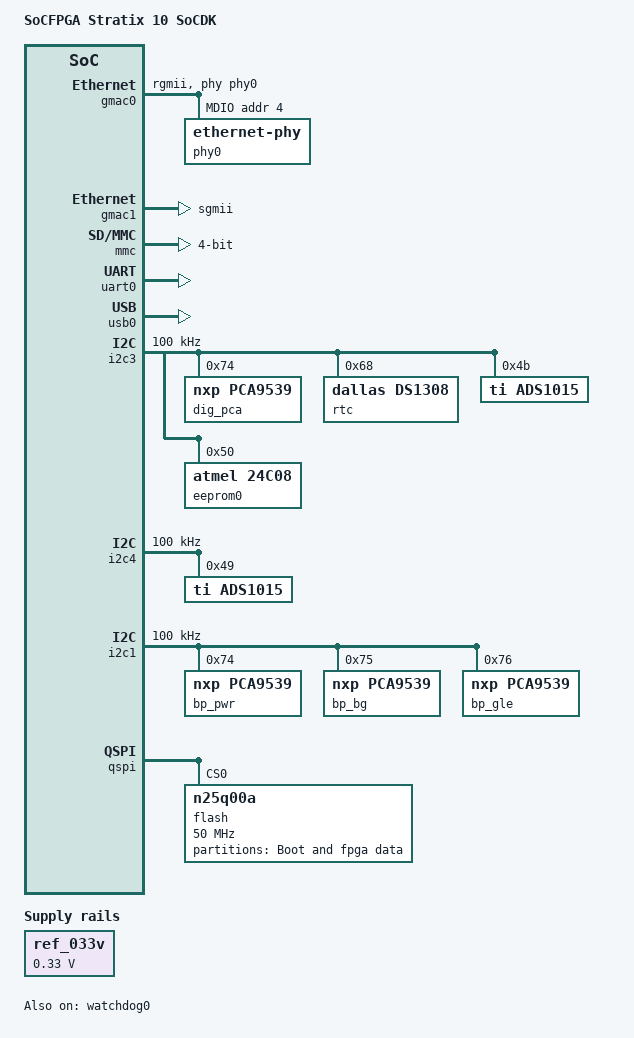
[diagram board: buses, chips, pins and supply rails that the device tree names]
/*
 * Copyright Altera Corporation (C) 2015. All rights reserved.
 *
 * This program is free software; you can redistribute it and/or modify
 * it under the terms and conditions of the GNU General Public License,
 * version 2, as published by the Free Software Foundation.
 *
 * This program is distributed in the hope it will be useful, but WITHOUT
 * ANY WARRANTY; without even the implied warranty of MERCHANTABILITY or
 * FITNESS FOR A PARTICULAR PURPOSE.  See the GNU General Public License for
 * more details.
 *
 * You should have received a copy of the GNU General Public License along with
 * this program.  If not, see <http://www.gnu.org/licenses/>.
 */

#include "socfpga_stratix10.dtsi"
#include <dt-bindings/interrupt-controller/irq.h>

/ {
	model = "SoCFPGA Stratix 10 SoCDK";

	aliases {
		serial0 = &uart0;
		ethernet0 = &gmac0;
		ethernet1 = &gmac1;
	};

	chosen {
		stdout-path = "serial0:115200n8";
	};

	memory {
		device_type = "memory";
		/* We expect the bootloader to fill in the reg */
		reg = <0 0 0 0>;
	};

	ref_033v: 033-v-ref {
		compatible = "regulator-fixed";
		regulator-name = "0.33V";
		regulator-min-microvolt = <330000>;
		regulator-max-microvolt = <330000>;
	};

	soc {
		clocks {
			osc1 {
				clock-frequency = <125000000>;
			};
		};

		s10_hps_bridges: bridge@80000000 {
			compatible = "altr,bridge-19.1", "simple-bus";
			reg =   <0x80000000 0x00008000>;
			reg-names = "axi_h2f";
			//clocks = <&iopll_0 1 &clk_0 &dp_0_video_pll 3 &iopll_0 0>;
			//clock-names = "h2f_axi_clock", "h2f_lw_axi_clock", "f2sdram0_clock", "f2sdram2_clock";
			#address-cells = <2>;
			#size-cells = <1>;
			#clock-cells = <0>;
			ranges = <0x00000000 0x00000000 0x80006000 0x00000040>,
				 <0x00000000 0x00000040 0x80006040 0x00000008>;

			gmii_to_sgmii: phy@0x000000040 {
				compatible = "altr,gmii-to-sgmii-2.0";
				reg = <0x00000000 0x00000000 0x00000040>,
				      <0x00000000 0x00000040 0x00000008>;
				reg-names = "eth_tse_control_port", "gmii_to_sgmii_adapter_avalon_slave";
				//clocks = <&sgmii_1_clk_0 &gmac1 1 &sgmii_1_clk_125 &sgmii_1_clk_125>;
				//clocks = <&sgmii_1_clk_0 &clkmgr STRATIX10_EMAC1_CLK &sgmii_1_clk_125 &sgmii_1_clk_125>;
				//clock-names = "clock_in", "emac_gtx_clk", "tse_pcs_ref_clk_clock_connection", "tse_rx_cdr_refclk";
			}; //end phy@0x100000040 (gmii_to_sgmii)

		};


		socfpga_axi_setup: stmmac-axi-config {
			snps,wr_osr_lmt = <0x0000000f>; /* appended from boardinfo */
			snps,rd_osr_lmt = <0x0000000f>; /* appended from boardinfo */
			snps,blen = <0 0 0 0 16 0 0>;   /* appended from boardinfo */
		}; //end stmmac-axi-config (socfpga_axi_setup)

		firmware {
			svc {
				rsu {
					compatible = "intel,stratix10-rsu";
				};
			};
		};

	};
};

&gpio0 {
	status = "okay";
};

&gpio1 {
	status = "okay";
};

&gmac0 {
	status = "okay";
	phy-mode = "rgmii";
	phy-handle = <&phy0>;
	altr,sysmgr-syscon = <&sysmgr 0x00000044 0>;
	max-frame-size = <9000>;

	mdio0 {
		#address-cells = <1>;
		#size-cells = <0>;
		compatible = "snps,dwmac-mdio";
		phy0: ethernet-phy@0 {
			reg = <4>;

			/*
			 * All skews are offset since hardware skew values for the ksz9031
			 * range from a negative skew to a positive skew.
			 * See the micrel-ksz90x1.txt Documentation file for details.
			 */
			 txd0-skew-ps = <0>; /* -420ps */
			 txd1-skew-ps = <0>; /* -420ps */
			 txd2-skew-ps = <0>; /* -420ps */
			 txd3-skew-ps = <0>; /* -420ps */
			 txen-skew-ps = <0>; /* -420ps */
			 txc-skew-ps  = <1860>; /* 960ps */

			 rxd0-skew-ps = <720>; /*  300ps */
			 rxd1-skew-ps = <720>; /*  300ps */
			 rxd2-skew-ps = <720>; /*  300ps */
			 rxd3-skew-ps = <720>; /*  300ps */
			 rxdv-skew-ps = <720>; /*  300ps */
			 rxc-skew-ps  = <0>;   /* -900ps */
		};
	};
};


&gmac1 {
	compatible = "altr,socfpga-stmmac", "snps,dwmac-3.74a", "snps,dwmac";
	reg = <0xff802000 0x2000>;
	interrupts = <0 91 4>;
	interrupt-names = "macirq";
	mac-address = [00 00 00 00 00 00];
	resets = <&rst EMAC1_RESET>, <&rst EMAC1_OCP_RESET>;
	reset-names = "stmmaceth", "stmmaceth-ocp";
	clocks = <&clkmgr STRATIX10_EMAC1_CLK>;
	clock-names = "stmmaceth";
	tx-fifo-depth = <16384>;
	rx-fifo-depth = <16384>;
	snps,multicast-filter-bins = <256>;
	altr,sysmgr-syscon = <&sysmgr 0x48 0>;
	snps,perfect-filter-entries = <128>;
	altr,gmii-to-sgmii-converter = <&gmii_to_sgmii>;
	altr,gmii_to_sgmii_converter = <&gmii_to_sgmii>;
	phy-mode = "sgmii";
	address-bits = <48>;
	max-frame-size = <9000>;
	snps,axi-config = <&socfpga_axi_setup>;
	status = "okay";
};

&mmc {
	status = "okay";
	cap-sd-highspeed;
	broken-cd;
	bus-width = <4>;
};

&uart0 {
	status = "okay";
};

&uart1 {
	status = "disabled";
};

&usb0 {
	status = "okay";
	disable-over-current;
};

&usb1 {
	status = "disabled";
	disable-over-current;
};

&watchdog0 {
	status = "okay";
};

&i2c3 {
	status = "okay";
	clock-frequency = <100000>;
	i2c-sda-hold-time-ns = <100>;
	i2c-sda-falling-time-ns = <300>;  /* hcnt */
	i2c-sdl-falling-time-ns = <300>;  /* lcnt */

	dig_pca@74 {
		compatible = "nxp,pca9539";
		reg = <0x74>;
		gpio-controller;
		#gpio-cells = <2>;
	};

	rtc@68 {
		compatible = "dallas,ds1308";
		reg = <0x68>;
	};

	ads1015@4b {
		compatible = "ti,ads1015";
		reg = <0x4b>;
		#address-cells = <0x1>;
		#size-cells = <0x0>;
		status = "okay";

		channel@4 {
			reg = <0x4>;
			ti,gain = <0x1>;
			ti,datarate = <0x4>;
		};

		channel@5 {
			reg = <0x5>;
			ti,gain = <0x1>;
			ti,datarate = <0x4>;
		};

		channel@6 {
			reg = <0x6>;
			ti,gain = <0x1>;
			ti,datarate = <0x4>;
		};

		channel@7 {
			reg = <0x7>;
			ti,gain = <0x1>;
			ti,datarate = <0x4>;
		};
	};
	eeprom0@50 {
		compatible = "atmel,24c08";
		reg = <0x50>;
		pagesize = <0x10>;
		address-width = <0x8>;
	};
};

&i2c4 {
	status = "okay";
	clock-frequency = <100000>;
	i2c-sda-hold-time-ns = <100>;
	i2c-sda-falling-time-ns = <300>;  /* hcnt */
	i2c-sdl-falling-time-ns = <300>;  /* lcnt */

	ads1015@49 {
		compatible = "ti,ads1015";
		reg = <0x49>;
		#address-cells = <0x1>;
		#size-cells = <0x0>;
		status = "okay";

		channel@4 {
			reg = <0x4>;
			ti,gain = <0x1>;
			ti,datarate = <0x4>;
		};

		channel@5 {
			reg = <0x5>;
			ti,gain = <0x1>;
			ti,datarate = <0x4>;
		};

		channel@6 {
			reg = <0x6>;
			ti,gain = <0x1>;
			ti,datarate = <0x4>;
		};

		channel@7 {
			reg = <0x7>;
			ti,gain = <0x1>;
			ti,datarate = <0x4>;
		};
	};
	/*pwr_pca@70 {
		compatible = "nxp,pca9538";
		reg = <0x70>;
		gpio-controller;
		#gpio-cells = <2>;
	};*/
};

&i2c1 {
	status = "okay";
	clock-frequency = <100000>;
	i2c-sda-hold-time-ns = <100>;
	i2c-sda-falling-time-ns = <300>;  /* hcnt */
	i2c-sdl-falling-time-ns = <300>;  /* lcnt */

	bp_pwr@74 {
		compatible = "nxp,pca9539";
		reg = <0x74>;
		gpio-controller;
		#gpio-cells = <2>;
	};

	bp_bg@75 {
		compatible = "nxp,pca9539";
		reg = <0x75>;
		gpio-controller;
		#gpio-cells = <2>;
	};

	bp_gle@76 {
		compatible = "nxp,pca9539";
		reg = <0x76>;
		gpio-controller;
		#gpio-cells = <2>;
	};
	
	/*eeprom0@50 {
		compatible = "atmel,24c08";
		reg = <0x50>;
		pagesize = <0x10>;
		address-width = <0x8>;
	};*/

};

&qspi {
	status = "okay";
	flash@0 {
		#address-cells = <1>;
		#size-cells = <1>;
		compatible = "n25q00a";
		reg = <0>;
		spi-max-frequency = <50000000>;

		m25p,fast-read;
		cdns,page-size = <256>;
		cdns,block-size = <16>;
		cdns,read-delay = <1>;
		cdns,tshsl-ns = <50>;
		cdns,tsd2d-ns = <50>;
		cdns,tchsh-ns = <4>;
		cdns,tslch-ns = <4>;

		partitions {
			compatible = "fixed-partitions";
			#address-cells = <1>;
			#size-cells = <1>;

			qspi_boot: partition@0 {
				label = "Boot and fpga data";
				reg = <0x0 0x40000000>;
			};
		};
	};
};
